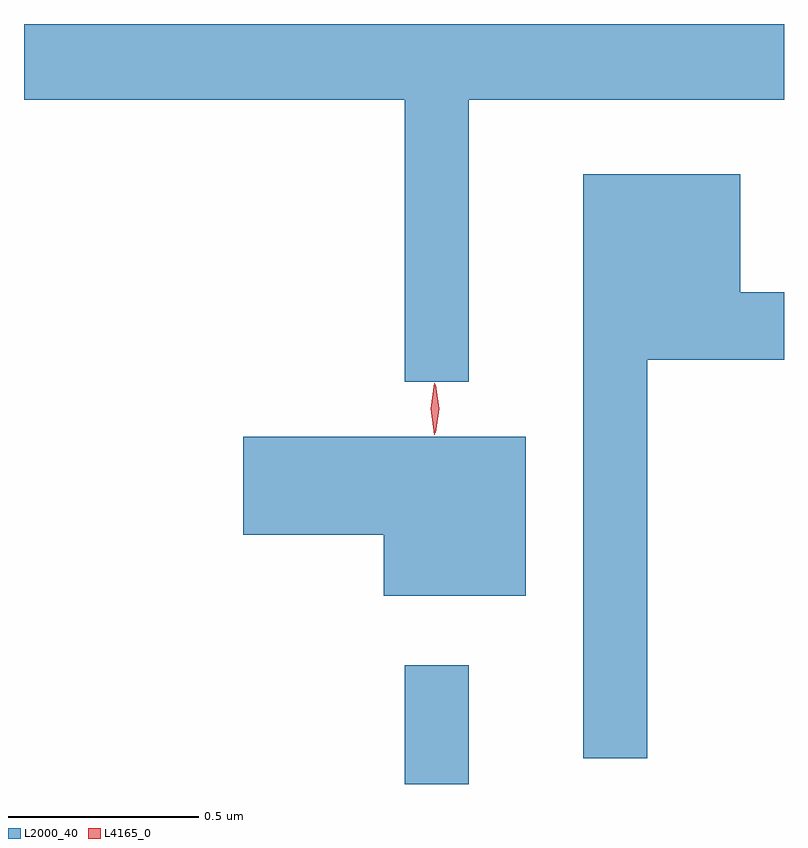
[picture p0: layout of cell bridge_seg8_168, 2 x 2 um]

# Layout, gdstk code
import gdstk
lib = gdstk.Library(unit=1e-6, precision=1e-09)
def R(c, l, rs):  # rectangles x0, y0, x1, y1
    for r in rs: c.add(gdstk.rectangle(r[:2], r[2:], *l))
def P(c, l, *ps):  # polygons
    for p in ps: c.add(gdstk.Polygon(p, *l))
L2000_40 = (2000, 40)
L4165_0 = (4165, 0)

bridge_seg8_168 = lib.new_cell('bridge_seg8_168')
R(bridge_seg8_168, L2000_40, [(1435.611,1916.755,1435.779,1917.068)])
P(bridge_seg8_168, L2000_40, [(1435.779,1918.556),(1436.609,1918.556),(1436.609,1918.755),(1434.609,1918.755),(1434.609,1918.556),(1435.611,1918.556),(1435.611,1917.813),(1435.779,1917.813)],
  [(1436.249,1917.871),(1436.609,1917.871),(1436.609,1918.049),(1436.494,1918.049),(1436.494,1918.359),(1436.081,1918.359),(1436.081,1916.823),(1436.249,1916.823)],
  [(1435.929,1917.669),(1435.186,1917.669),(1435.186,1917.411),(1435.556,1917.411),(1435.556,1917.251),(1435.929,1917.251)])
P(bridge_seg8_168, L4165_0, [(1435.689,1917.674),(1435.689,1917.674),(1435.679,1917.742),(1435.689,1917.81),(1435.689,1917.81),(1435.69,1917.81),(1435.699,1917.742),(1435.69,1917.674)],
  [(1435.692,1917.68),(1435.692,1917.68),(1435.682,1917.743),(1435.692,1917.806),(1435.692,1917.807),(1435.693,1917.806),(1435.702,1917.743),(1435.693,1917.68)])

lib.write_gds('bridge_seg8_168.gds')
